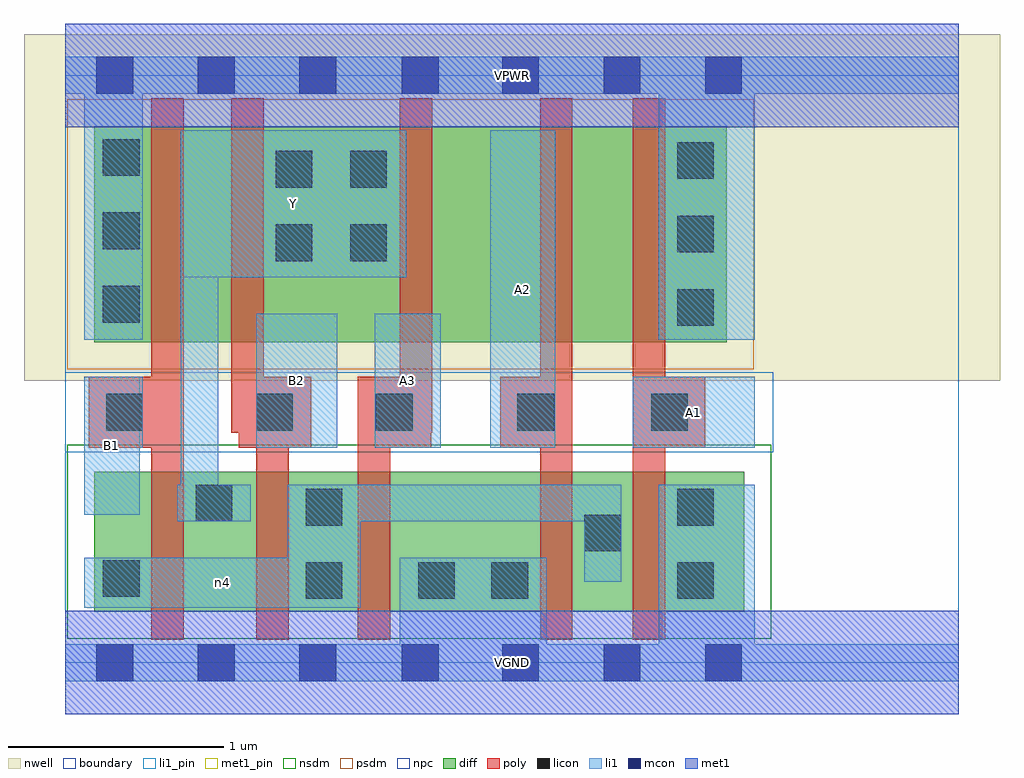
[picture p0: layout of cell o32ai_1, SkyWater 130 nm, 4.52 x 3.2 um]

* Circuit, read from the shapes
.subckt o32ai_1 A1 A2 A3 B1 B2 VGND VPWR Y n4
XM1 Y B1 n4 VSUBS sky130_fd_pr__nfet_01v8 w=0.65 l=0.15
XM2 n4 B2 Y VSUBS sky130_fd_pr__nfet_01v8 w=0.65 l=0.15
XM3 VGND A3 n4 VSUBS sky130_fd_pr__nfet_01v8 w=0.65 l=0.15
XM4 n4 A2 VGND VSUBS sky130_fd_pr__nfet_01v8 w=0.65 l=0.15
XM5 VGND A1 n4 VSUBS sky130_fd_pr__nfet_01v8 w=0.65 l=0.15
XM6 n1 B1 VPWR n2 sky130_fd_pr__pfet_01v8 w=1 l=0.15
XM7 Y B2 n1 n2 sky130_fd_pr__pfet_01v8 w=1 l=0.15
XM8 n3 A3 Y n2 sky130_fd_pr__pfet_01v8 w=1 l=0.15
XM9 n5 A2 n3 n2 sky130_fd_pr__pfet_01v8 w=1 l=0.15
XM10 VPWR A1 n5 n2 sky130_fd_pr__pfet_01v8 w=1 l=0.15
.ends

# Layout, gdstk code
import gdstk
lib = gdstk.Library(unit=1e-6, precision=1e-09)
def R(c, l, rs):  # rectangles x0, y0, x1, y1
    for r in rs: c.add(gdstk.rectangle(r[:2], r[2:], *l))
def A(c, l, x, y, w, h, nx, ny, dx, dy):  # array of equal rectangles
    R(c, l, [(x+i*dx, y+j*dy, x+i*dx+w, y+j*dy+h) for i in range(nx) for j in range(ny)])
nwell = (64, 20)
diff = (65, 20)
poly = (66, 20)
licon = (66, 44)
li1_pin = (67, 16)
li1 = (67, 20)
mcon = (67, 44)
met1_pin = (68, 16)
met1 = (68, 20)
nsdm = (93, 44)
psdm = (94, 20)
npc = (95, 20)
boundary = (235, 4)

o32ai_1 = lib.new_cell('o32ai_1')
R(o32ai_1, nwell, [(-0.19,1.305,4.33,2.91), (0,1.305,4.14,2.91)])
R(o32ai_1, diff, [(0.135,0.235,3.145,0.885), (0.135,1.485,3.065,2.485)])
R(o32ai_1, poly, [(0.4,0.105,0.55,2.615), (0.885,0.105,1.035,1.325), (1.355,0.105,1.505,1.325), (2.2,0.105,2.35,2.615), (2.63,0.105,2.78,2.615), (0.11,0.995,0.55,1.325), (0.805,0.995,1.14,1.325), (1.505,0.995,1.695,1.325), (2.015,0.995,2.35,1.325), (2.63,0.995,2.965,1.325), (0.77,1.065,0.92,2.615), (1.55,1.065,1.7,2.615)])
A(o32ai_1, licon, 2.835, 1.56, 0.17, 0.17, 1, 3, 0, 0.34)
A(o32ai_1, licon, 0.175, 1.575, 0.17, 0.17, 1, 3, 0, 0.34)
R(o32ai_1, licon, [(1.115,0.295,1.285,0.465), (1.635,0.295,1.805,0.465), (1.975,0.295,2.145,0.465), (2.835,0.295,3.005,0.465), (0.175,0.305,0.345,0.475), (2.405,0.515,2.575,0.685), (1.115,0.635,1.285,0.805), (2.835,0.635,3.005,0.805), (0.605,0.655,0.775,0.825), (0.19,1.075,0.36,1.245), (0.885,1.075,1.055,1.245), (1.44,1.075,1.61,1.245), (2.095,1.075,2.265,1.245), (2.715,1.075,2.885,1.245), (0.975,1.86,1.145,2.03), (1.32,1.86,1.49,2.03), (0.975,2.2,1.145,2.37), (1.32,2.2,1.49,2.37)])
R(o32ai_1, li1_pin, [(0.09,0.685,0.345,1.325), (0.885,0.995,1.26,1.615), (1.435,0.995,1.74,1.615), (1.97,0.995,2.27,2.465), (2.63,0.995,3.195,1.325), (0.535,1.785,1.58,2.465)])
R(o32ai_1, li1, [(0,-0.085,4.14,0.085), (1.55,-0.085,2.23,0.485), (2.75,-0.085,3.195,0.825), (0.09,0.255,1.37,0.485), (1.03,0.255,1.37,0.825), (2.405,0.375,2.575,0.825), (0.52,0.655,0.86,0.825), (0.535,0.655,0.71,2.465), (1.03,0.655,2.575,0.825), (0.09,0.685,0.345,1.325), (0.09,0.995,0.36,1.325), (0.885,0.995,1.26,1.615), (1.435,0.995,1.74,1.615), (1.97,0.995,2.27,2.465), (2.63,0.995,3.195,1.325), (0.09,1.495,0.36,2.805), (2.75,1.495,3.195,2.805), (0.535,1.785,1.58,2.465), (0,2.635,4.14,2.805)])
A(o32ai_1, mcon, 0.145, -0.085, 0.17, 0.17, 3, 2, 0.47, 2.72)
A(o32ai_1, mcon, 2.025, -0.085, 0.17, 0.17, 3, 2, 0.47, 2.72)
R(o32ai_1, mcon, [(1.56,-0.085,1.73,0.085), (1.56,2.635,1.73,2.805)])
R(o32ai_1, met1_pin, [(0,-0.24,4.14,0.24), (0,2.48,4.14,2.96)])
R(o32ai_1, met1, [(0,-0.24,4.14,0.24), (0,2.48,4.14,2.96)])
R(o32ai_1, nsdm, [(0.01,0.11,3.27,1.01)])
R(o32ai_1, psdm, [(0.01,1.36,3.19,2.61)])
R(o32ai_1, npc, [(0,0.975,3.28,1.345)])
R(o32ai_1, boundary, [(0,0,4.14,2.72)])
o32ai_1.add(gdstk.Label('A1', (2.912,1.16), layer=67, texttype=5))
o32ai_1.add(gdstk.Label('A2', (2.12,1.73), layer=67, texttype=5))
o32ai_1.add(gdstk.Label('A3', (1.587,1.305), layer=67, texttype=5))
o32ai_1.add(gdstk.Label('B1', (0.217,1.005), layer=67, texttype=5))
o32ai_1.add(gdstk.Label('B2', (1.072,1.305), layer=67, texttype=5))
o32ai_1.add(gdstk.Label('Y', (1.057,2.125), layer=67, texttype=5))
o32ai_1.add(gdstk.Label('n4', (0.73,0.37), layer=67, texttype=5))
o32ai_1.add(gdstk.Label('VPWR', (2.07,2.72), layer=68, texttype=5))
o32ai_1.add(gdstk.Label('VGND', (2.07,0), layer=68, texttype=5))
o32ai_1.add(gdstk.Label('A1', (2.912,1.16), layer=67, texttype=16))
o32ai_1.add(gdstk.Label('A2', (2.12,1.73), layer=67, texttype=16))
o32ai_1.add(gdstk.Label('A3', (1.587,1.305), layer=67, texttype=16))
o32ai_1.add(gdstk.Label('B1', (0.217,1.005), layer=67, texttype=16))
o32ai_1.add(gdstk.Label('B2', (1.072,1.305), layer=67, texttype=16))
o32ai_1.add(gdstk.Label('Y', (1.057,2.125), layer=67, texttype=16))
o32ai_1.add(gdstk.Label('VPWR', (2.07,2.72), layer=68, texttype=16))
o32ai_1.add(gdstk.Label('VGND', (2.07,0), layer=68, texttype=16))

lib.write_gds('o32ai_1.gds')
